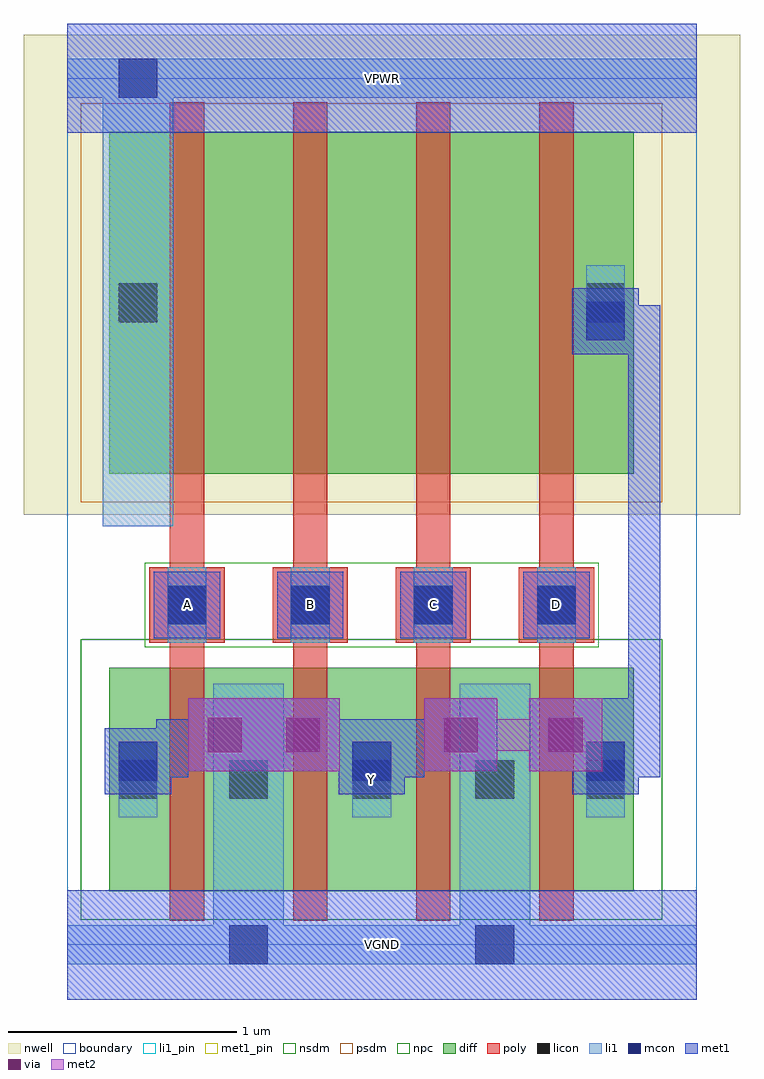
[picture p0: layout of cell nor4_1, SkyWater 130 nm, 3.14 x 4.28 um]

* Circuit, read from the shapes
.subckt nor4_1 A B C D VGND VPWR Y
XM1 VGND A Y VSUBS sky130_fd_pr__nfet_01v8 w=0.98 l=0.15
XM2 Y B VGND VSUBS sky130_fd_pr__nfet_01v8 w=0.98 l=0.15
XM3 VGND C Y VSUBS sky130_fd_pr__nfet_01v8 w=0.98 l=0.15
XM4 Y D VGND VSUBS sky130_fd_pr__nfet_01v8 w=0.98 l=0.15
XM5 n1 A VPWR n2 sky130_fd_pr__pfet_01v8 w=1.5 l=0.15
XM6 n3 B n1 n2 sky130_fd_pr__pfet_01v8 w=1.5 l=0.15
XM7 n4 C n3 n2 sky130_fd_pr__pfet_01v8 w=1.5 l=0.15
XM8 Y D n4 n2 sky130_fd_pr__pfet_01v8 w=1.5 l=0.15
.ends

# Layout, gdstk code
import gdstk
lib = gdstk.Library(unit=1e-6, precision=1e-09)
def R(c, l, rs):  # rectangles x0, y0, x1, y1
    for r in rs: c.add(gdstk.rectangle(r[:2], r[2:], *l))
def A(c, l, x, y, w, h, nx, ny, dx, dy):  # array of equal rectangles
    R(c, l, [(x+i*dx, y+j*dy, x+i*dx+w, y+j*dy+h) for i in range(nx) for j in range(ny)])
nwell = (64, 20)
diff = (65, 20)
poly = (66, 20)
licon = (66, 44)
li1_pin = (67, 16)
li1 = (67, 20)
mcon = (67, 44)
met1_pin = (68, 16)
met1 = (68, 20)
via = (68, 44)
met2 = (69, 20)
nsdm = (93, 44)
psdm = (94, 20)
npc = (95, 20)
boundary = (235, 4)

nor4_1 = lib.new_cell('nor4_1')
R(nor4_1, nwell, [(-0.19,1.885,2.95,3.99), (0,1.885,2.76,3.99)])
R(nor4_1, diff, [(0.185,0.235,2.485,1.215), (0.185,2.065,2.485,3.565)])
A(nor4_1, poly, 0.45, 0.105, 0.15, 3.59, 4, 1, 0.54, 0)
A(nor4_1, poly, 0.36, 1.325, 0.33, 0.33, 4, 1, 0.54, 0)
A(nor4_1, licon, 0.71, 0.64, 0.17, 0.17, 3, 1, 0.54, 0)
A(nor4_1, licon, 0.44, 1.405, 0.17, 0.17, 4, 1, 0.54, 0)
R(nor4_1, licon, [(0.225,0.64,0.395,0.81), (2.275,0.64,2.445,0.81), (0.225,2.73,0.395,2.9), (2.275,2.73,2.445,2.9)])
R(nor4_1, li1_pin, [(1.25,0.56,1.42,0.89)])
A(nor4_1, li1, 0.225, 0.56, 0.17, 0.33, 3, 1, 1.025, 0)
A(nor4_1, li1, 0.44, 1.325, 0.17, 0.33, 4, 1, 0.54, 0)
R(nor4_1, li1, [(0,-0.085,2.76,0.085), (0.64,-0.085,0.95,1.145), (1.72,-0.085,2.03,1.145), (0.155,1.835,0.465,3.885), (2.275,2.65,2.445,2.98), (0,3.715,2.76,3.885)])
A(nor4_1, mcon, 0.225, 0.72, 0.17, 0.17, 3, 1, 1.025, 0)
A(nor4_1, mcon, 0.44, 1.405, 0.17, 0.17, 4, 1, 0.54, 0)
R(nor4_1, mcon, [(0.71,-0.085,0.88,0.085), (1.79,-0.085,1.96,0.085), (2.275,2.65,2.445,2.82), (0.225,3.715,0.395,3.885)])
A(nor4_1, met1_pin, 0.38, 1.345, 0.29, 0.29, 4, 1, 0.54, 0)
R(nor4_1, met1_pin, [(0,-0.24,2.76,0.24), (0,3.56,2.76,4.04)])
A(nor4_1, met1, 0.165, 0.66, 0.29, 0.29, 3, 1, 1.025, 0)
A(nor4_1, met1, 0.39, 0.735, 0.14, 0.255, 3, 1, 1.035, 0)
A(nor4_1, met1, 0.38, 1.345, 0.29, 0.29, 4, 1, 0.54, 0)
R(nor4_1, met1, [(0,-0.24,2.76,0.24), (0.24,0.735,0.53,0.875), (1.265,0.735,1.565,0.875), (2.29,0.735,2.6,0.875), (0.53,0.76,0.85,1.08), (0.85,0.76,0.875,1.08), (0.875,0.76,1.195,1.08), (1.565,0.76,1.885,1.08), (2.025,0.76,2.345,1.08), (2.345,0.76,2.46,0.99), (0.39,0.85,0.76,0.99), (0.76,0.85,0.875,0.99), (0.85,0.85,0.965,0.99), (0.965,0.85,1.565,0.99), (1.425,0.85,1.795,0.99), (2.115,0.85,2.6,0.99), (2.345,0.85,2.46,1.08), (2.46,0.85,2.6,2.715), (2.46,2.575,2.6,2.805), (2.215,2.59,2.505,2.88), (2.29,2.665,2.6,2.805), (0,3.56,2.76,4.04)])
R(nor4_1, via, [(0.615,0.845,0.765,0.995), (0.96,0.845,1.11,0.995), (1.65,0.845,1.8,0.995), (2.11,0.845,2.26,0.995)])
R(nor4_1, met2, [(0.53,0.76,0.85,1.08), (0.85,0.76,0.875,1.08), (0.875,0.76,1.195,1.08), (1.565,0.76,1.885,1.08), (2.025,0.76,2.345,1.08), (0.62,0.85,1.105,0.99), (1.655,0.85,2.255,0.99)])
R(nor4_1, nsdm, [(0.06,0.11,2.61,1.34)])
R(nor4_1, psdm, [(0.06,1.94,2.61,3.69)])
R(nor4_1, npc, [(0.34,1.305,2.33,1.675)])
R(nor4_1, boundary, [(0,0,2.76,3.8)])
nor4_1.add(gdstk.Label('Y', (1.335,0.725), layer=67, texttype=5))
nor4_1.add(gdstk.Label('A', (0.525,1.49), layer=68, texttype=5))
nor4_1.add(gdstk.Label('B', (1.065,1.49), layer=68, texttype=5))
nor4_1.add(gdstk.Label('C', (1.605,1.49), layer=68, texttype=5))
nor4_1.add(gdstk.Label('D', (2.145,1.49), layer=68, texttype=5))
nor4_1.add(gdstk.Label('VPWR', (1.38,3.8), layer=68, texttype=5))
nor4_1.add(gdstk.Label('VGND', (1.38,0), layer=68, texttype=5))
nor4_1.add(gdstk.Label('Y', (1.335,0.725), layer=67, texttype=16))
nor4_1.add(gdstk.Label('A', (0.525,1.49), layer=68, texttype=16))
nor4_1.add(gdstk.Label('B', (1.065,1.49), layer=68, texttype=16))
nor4_1.add(gdstk.Label('C', (1.605,1.49), layer=68, texttype=16))
nor4_1.add(gdstk.Label('D', (2.145,1.49), layer=68, texttype=16))
nor4_1.add(gdstk.Label('VPWR', (1.38,3.8), layer=68, texttype=16))
nor4_1.add(gdstk.Label('VGND', (1.38,0), layer=68, texttype=16))

lib.write_gds('nor4_1.gds')
